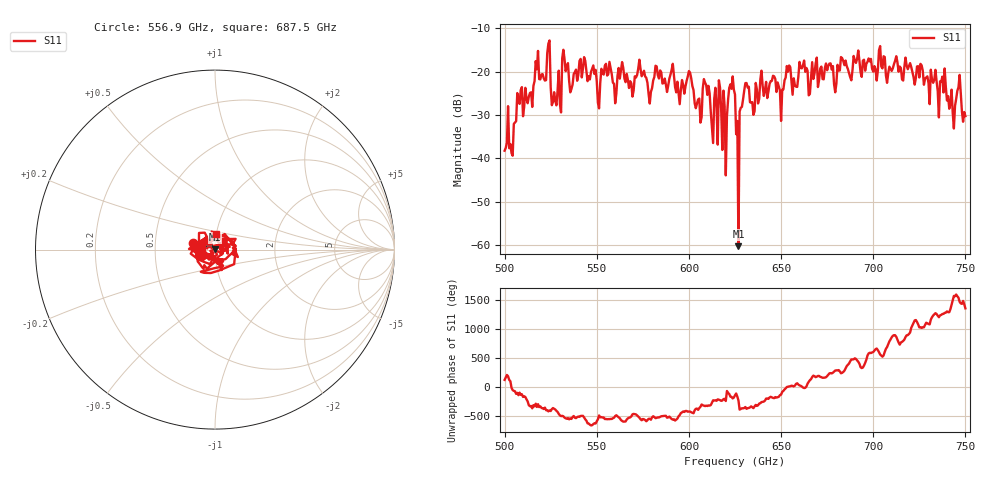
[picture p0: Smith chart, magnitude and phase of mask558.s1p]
!Created with skrf (http://scikit-rf.org).
# GHz S MA R 50.0
!freq magS11 angS11
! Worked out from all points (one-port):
!   401 points, 500 GHz to 750 GHz, reference 50 ohm
!   lowest |S11| = -60.2 dB at 626.9 GHz (marker M1), VSWR 1.00, Z = 49.9 + j0.077 ohm
!   |S11| at or under -10 dB: start of sweep to end of sweep
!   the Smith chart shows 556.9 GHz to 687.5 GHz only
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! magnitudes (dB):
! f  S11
! 500 GHz  -38.2
! 516.9 GHz  -17.6
! 523.8 GHz  -13.6
! 526.9 GHz  -24.8
! 531.2 GHz  -17.0
! 562.5 GHz  -21.6
! 568.8 GHz  -22.7
! 574.4 GHz  -21.1
! 578.8 GHz  -27.4
! 590.6 GHz  -19.6
! 593.8 GHz  -22.3
! 600 GHz  -19.9
! 605.6 GHz  -26.2
! 609.4 GHz  -23.1
! 619.4 GHz  -28.0
! 622.5 GHz  -22.9
! 625 GHz  -25.3
! 625.6 GHz  -34.4
! 626.9 GHz  -60.2
! 631.2 GHz  -22.6
! 634.4 GHz  -27.0
! 656.2 GHz  -25.3
! 687.5 GHz  -21.3
! 718.8 GHz  -19.5
! 738.1 GHz  -24.8
! 742.5 GHz  -24.2
! 746.2 GHz  -23.6
! 750 GHz  -30.3
